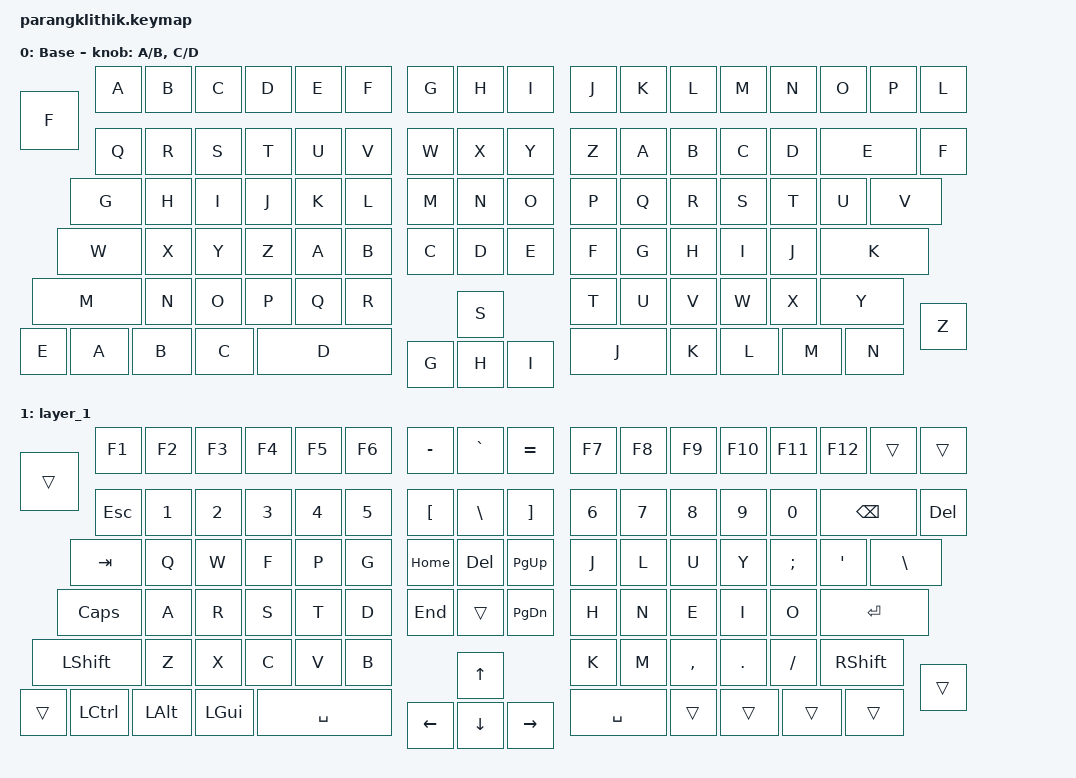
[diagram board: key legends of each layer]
#include <behaviors.dtsi>
#include <dt-bindings/zmk/keys.h>

/ {
    keymap {
        compatible = "zmk,keymap";

        default_layer {
            display-name = "Base";
            bindings = <
&kp A  &kp B  &kp C  &kp D  &kp E  &kp F  &kp G  &kp H  &kp I  &kp J  &kp K  &kp L  &kp M  &kp N  &kp O  &kp P
&kp Q  &kp R  &kp S  &kp T  &kp U  &kp V  &kp W  &kp X  &kp Y  &kp Z  &kp A  &kp B  &kp C  &kp D  &kp E  &kp F
&kp G  &kp H  &kp I  &kp J  &kp K  &kp L  &kp M  &kp N  &kp O  &kp P  &kp Q  &kp R  &kp S  &kp T  &kp U  &kp V
&kp W  &kp X  &kp Y  &kp Z  &kp A  &kp B  &kp C  &kp D  &kp E  &kp F  &kp G  &kp H  &kp I  &kp J  &kp K  &kp L
&kp M  &kp N  &kp O  &kp P  &kp Q  &kp R                &kp S  &kp T  &kp U  &kp V  &kp W  &kp X  &kp Y  &kp Z
&kp A  &kp B  &kp C  &kp D  &kp E  &kp F  &kp G  &kp H  &kp I  &kp J  &kp K  &kp L  &kp M  &kp N
            >;

            sensor-bindings = <&inc_dec_kp A B &inc_dec_kp C D>;
        };

        layer_1 {
            bindings = <
&kp F1     &kp F2    &kp F3    &kp F4     &kp F5  &kp F6  &kp MINUS  &kp GRAVE  &kp EQUAL  &kp F7     &kp F8  &kp F9     &kp F10  &kp F11   &kp F12    &trans
&kp ESC    &kp N1    &kp N2    &kp N3     &kp N4  &kp N5  &kp LBKT   &kp BSLH   &kp RBKT   &kp N6     &kp N7  &kp N8     &kp N9   &kp N0    &kp BSPC   &kp DEL
&kp TAB    &kp Q     &kp W     &kp F      &kp P   &kp G   &kp HOME   &kp DEL    &kp PG_UP  &kp J      &kp L   &kp U      &kp Y    &kp SEMI  &kp SQT    &kp BSLH
&kp CAPS   &kp A     &kp R     &kp S      &kp T   &kp D   &kp END    &trans     &kp PG_DN  &kp H      &kp N   &kp E      &kp I    &kp O     &kp ENTER  &trans
&kp LSHFT  &kp Z     &kp X     &kp C      &kp V   &kp B                         &kp UP     &kp K      &kp M   &kp COMMA  &kp DOT  &kp FSLH  &kp RSHFT  &trans
&kp LCTRL  &kp LALT  &kp LGUI  &kp SPACE  &trans  &trans  &kp LEFT   &kp DOWN   &kp RIGHT  &kp SPACE  &trans  &trans     &trans   &trans
            >;
        };
    };
};
